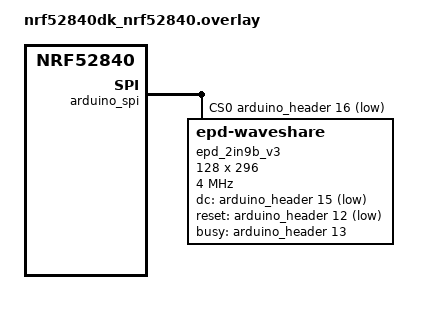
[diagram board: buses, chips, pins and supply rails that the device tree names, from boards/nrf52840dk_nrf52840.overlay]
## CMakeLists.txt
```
# Simple E-Paper Display Demo - CMake Build Configuration

cmake_minimum_required(VERSION 3.20.0)

# Set DTS_ROOT to include our custom device tree bindings
# This must be set BEFORE find_package(Zephyr)
list(APPEND DTS_ROOT ${CMAKE_CURRENT_SOURCE_DIR}/dts)

# Find Zephyr package
# The overlay will be auto-detected from boards/ directory
find_package(Zephyr REQUIRED HINTS $ENV{ZEPHYR_BASE})

project(simple_epd_demo)

# Main application source
target_sources(app PRIVATE src/main.c)

# EPD Driver sources
target_sources(app PRIVATE
    driver/DEV_Config.c
    driver/EPD_2in9b_V3.c
)

# Paint Library sources
target_sources(app PRIVATE
    paint/paint.c
    paint/font8.c
    paint/font12.c
    paint/font16.c
    paint/font20.c
    paint/font24.c
)

# Include directories
target_include_directories(app PRIVATE
    driver
    paint/include
)
```

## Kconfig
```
# Simple E-Paper Display Demo Configuration

mainmenu "Simple EPD Demo Configuration"

config PAINT_COLORS
	int "Paint library color support"
	default 3
	help
	  Number of colors supported by the paint library:
	  2 = Black and White only
	  3 = Black, White, and Red

source "Kconfig.zephyr"
```

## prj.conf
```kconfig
# Simple E-Paper Display Demo Configuration

# Logging
CONFIG_LOG=y
CONFIG_PRINTK=y
CONFIG_CONSOLE=y
CONFIG_UART_CONSOLE=y

# SPI Driver
CONFIG_SPI=y

# GPIO Driver
CONFIG_GPIO=y

# Paint Library Configuration
CONFIG_PAINT_COLORS=3

# Main stack size (increase for buffers and painting)
CONFIG_MAIN_STACK_SIZE=4096

# Heap memory pool
CONFIG_HEAP_MEM_POOL_SIZE=8192
```

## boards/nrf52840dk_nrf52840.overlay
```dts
/*
 * Device Tree Overlay for Waveshare 2.9" E-Paper Display
 * Board: nRF52840-preview-DK
 *
 * Pin connections using Arduino headers:
 *   CS (Chip Select)   = D10 (P1.02)
 *   DC (Data/Command)  = D9  (P1.01)
 *   RST (Reset)        = D6  (P0.30) - Alternative pin (D8/P1.00 not available on preview DK)
 *   BUSY               = D7  (P0.31)
 *   DIN (MOSI)         = D11 (P1.03) - Arduino SPI MOSI
 *   CLK (SCK)          = D13 (P1.05) - Arduino SPI SCK
 *   VCC                = 3.3V
 *   GND                = GND
 *
 * Note: If D6 is not available on your board, you can use other free digital pins:
 *   D5 (arduino_header 11), D4 (arduino_header 10), D3 (arduino_header 9), D2 (arduino_header 8)
 *   Just change the reset-gpios line below to use the appropriate arduino_header number.
 */

/ {
	chosen {
		zephyr,display = &epd_2in9b_v3;
	};
};

&arduino_spi {
	status = "okay";
	cs-gpios = <&arduino_header 16 GPIO_ACTIVE_LOW>; /* D10 */

	epd_2in9b_v3: epd_2in9b_v3@0 {
		compatible = "zephyr,epd-waveshare";
		status = "okay";
		spi-max-frequency = <4000000>;
		reg = <0>;
		width = <128>;
		height = <296>;
		dc-gpios = <&arduino_header 15 GPIO_ACTIVE_LOW>;      /* D9 */
		reset-gpios = <&arduino_header 12 GPIO_ACTIVE_LOW>;   /* D6 - Alternative for preview DK */
		busy-gpios = <&arduino_header 13 GPIO_ACTIVE_HIGH>;   /* D7 */
	};
};
```

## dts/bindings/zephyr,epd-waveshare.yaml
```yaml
description: |
    E-Paper display controller for Waveshare displays

    The origin is in the upper left corner when the FPC line is facing down.
    Source = width = x, Gate = height = y.

include: [spi-device.yaml]

compatible: "zephyr,epd-waveshare"

properties:
    width:
      type: int
      required: true
      description: Display width in pixels

    height:
      type: int
      required: true
      description: Display height in pixels

    vcc-gpios:
      type: phandle-array
      description: |
        VCC power control pin (optional).

        The VCC pin of E-Paper is active high.

    busy-gpios:
      type: phandle-array
      required: true
      description: |
        BUSY status pin.

        The BUSY pin of E-Paper is active high.

    reset-gpios:
      type: phandle-array
      required: true
      description: |
        RESET pin.

        The RESET pin of E-Paper is active low.

    dc-gpios:
      type: phandle-array
      required: true
      description: |
        DC (Data/Command) pin.

        The DC pin of E-Paper is active low (command) / active high (data).

on-bus: spi
```

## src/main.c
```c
/**
 * Simple E-Paper Display Demo
 *
 * This demo shows how to control a Waveshare 2.9" Black/White E-Paper Display
 * using the nRF52840 Development Kit.
 *
 * Display: Waveshare 2.9" E-Paper (128x296 pixels)
 * Board: nRF52840 DK
 */

#include <zephyr/kernel.h>
#include <zephyr/device.h>
#include <zephyr/logging/log.h>

#include "../driver/DEV_Config.h"
#include "../driver/EPD_2in9b_V3.h"
#include "../paint/include/paint.h"

LOG_MODULE_REGISTER(epd_demo, LOG_LEVEL_INF);

/* Display dimensions */
#define EPD_WIDTH  EPD_2IN9B_V3_WIDTH
#define EPD_HEIGHT EPD_2IN9B_V3_HEIGHT

/* Buffer size calculation: width/8 * height (1 bit per pixel) */
#define BUFFER_SIZE ((EPD_WIDTH / 8) * EPD_HEIGHT)

/* Buffers for black and red layers */
static uint8_t black_buffer[BUFFER_SIZE];
static uint8_t red_buffer[BUFFER_SIZE];

/* Paint object for drawing */
static paint_obj_t paint;

/**
 * Initialize the E-Paper Display
 */
static int epd_init(void)
{
	int ret;

	LOG_INF("Initializing E-Paper Display...");

	/* Initialize hardware (SPI, GPIO) */
	ret = DEV_Module_Init();
	if (ret != 0) {
		LOG_ERR("Failed to initialize hardware: %d", ret);
		return ret;
	}

	/* Initialize the EPD */
	EPD_2IN9B_V3_Init();
	LOG_INF("EPD initialized successfully");

	return 0;
}

/**
 * Display demo content on the E-Paper
 */
static void display_demo_content(void)
{
	LOG_INF("Preparing display content...");

	/* Initialize paint library with black buffer */
	paint.width = EPD_WIDTH;
	paint.height = EPD_HEIGHT;
	paint.wb_buffer = black_buffer;
	paint.rw_buffer = red_buffer;
	paint.buffer_size = BUFFER_SIZE;
	paint.direction = PAINT_DIRECTION_0;
	paint.scanmode = PAINT_SCAN_MODE_1;

	paint_Init(&paint);

	/* Clear both buffers to white */
	memset(black_buffer, 0xFF, BUFFER_SIZE);
	memset(red_buffer, 0xFF, BUFFER_SIZE);

	/* Draw title text in black */
	paint_DrawString("nRF52840", &Font24, BLACK, 10, 10);
	paint_DrawString("E-Paper Demo", &Font20, BLACK, 10, 40);

	/* Draw some text information */
	paint_DrawString("Waveshare 2.9\"", &Font16, BLACK, 10, 80);
	paint_DrawString("128x296 pixels", &Font12, BLACK, 10, 100);

	/* Draw a rectangle border */
	paint_rect_t border = {
		.x = 5,
		.y = 5,
		.width = EPD_WIDTH - 10,
		.height = 120
	};

	/* Draw border lines (simplified - just draw rectangles) */
	for (int i = 0; i < 2; i++) {
		paint_rect_t line;

		/* Top line */
		line.x = border.x + i;
		line.y = border.y + i;
		line.width = border.width - 2*i;
		line.height = 1;
		paint_FillRect(BLACK, &line);

		/* Bottom line */
		line.y = border.y + border.height - i - 1;
		paint_FillRect(BLACK, &line);

		/* Left line */
		line.x = border.x + i;
		line.y = border.y + i;
		line.width = 1;
		line.height = border.height - 2*i;
		paint_FillRect(BLACK, &line);

		/* Right line */
		line.x = border.x + border.width - i - 1;
		paint_FillRect(BLACK, &line);
	}

	/* Draw some status text */
	paint_DrawString("Status: OK", &Font12, BLACK, 10, 140);
	paint_DrawString("Ready to use!", &Font12, BLACK, 10, 160);

	LOG_INF("Displaying content on EPD...");

	/* Send the buffers to the display */
	EPD_2IN9B_V3_Display(black_buffer, red_buffer);

	LOG_INF("Display update complete!");
}

/**
 * Put the E-Paper Display to sleep mode
 */
static void epd_sleep(void)
{
	LOG_INF("Putting EPD to sleep...");
	EPD_2IN9B_V3_Sleep();
}

/**
 * Main application entry point
 */
int main(void)
{
	LOG_INF("===========================================");
	LOG_INF("   nRF52840 E-Paper Display Demo");
	LOG_INF("   Waveshare 2.9\" Black/White Display");
	LOG_INF("===========================================");

	/* Initialize the display */
	if (epd_init() != 0) {
		LOG_ERR("Failed to initialize EPD!");
		return -1;
	}

	/* Clear the display first */
	LOG_INF("Clearing display...");
	EPD_2IN9B_V3_Clear();
	k_msleep(2000);

	/* Display demo content */
	display_demo_content();

	/* Wait a bit before putting to sleep */
	k_msleep(5000);

	/* Put display to sleep to save power */
	epd_sleep();

	LOG_INF("Demo complete! Display is now in sleep mode.");

	/* Main loop - just keep the application running */
	while (1) {
		k_msleep(10000);
	}

	return 0;
}
```
